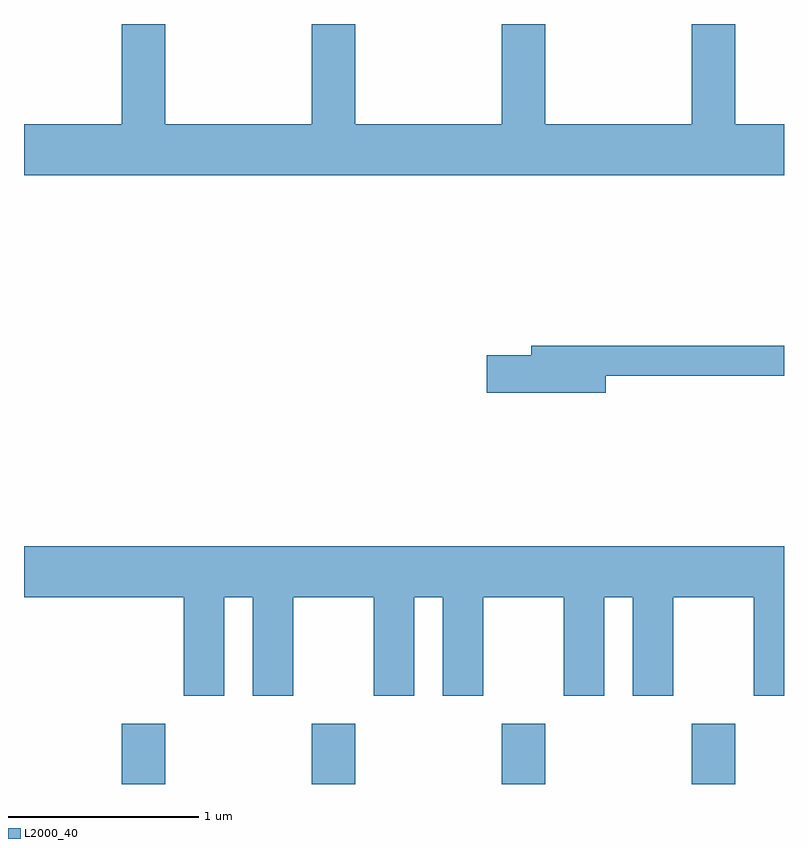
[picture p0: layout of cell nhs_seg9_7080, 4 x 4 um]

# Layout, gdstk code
import gdstk
lib = gdstk.Library(unit=1e-6, precision=1e-09)
def R(c, l, rs):  # rectangles x0, y0, x1, y1
    for r in rs: c.add(gdstk.rectangle(r[:2], r[2:], *l))
def A(c, l, x, y, w, h, nx, ny, dx, dy):  # array of equal rectangles
    R(c, l, [(x+i*dx, y+j*dy, x+i*dx+w, y+j*dy+h) for i in range(nx) for j in range(ny)])
def P(c, l, *ps):  # polygons
    for p in ps: c.add(gdstk.Polygon(p, *l))
L2000_40 = (2000, 40)

nhs_seg9_7080 = lib.new_cell('nhs_seg9_7080')
A(nhs_seg9_7080, L2000_40, 396.126, 1946.432, 0.228, 0.317, 4, 1, 1, 0)
P(nhs_seg9_7080, L2000_40, [(399.611,1949.904),(399.354,1949.904),(399.354,1950.432),(399.126,1950.432),(399.126,1949.904),(398.354,1949.904),(398.354,1950.432),(398.126,1950.432),(398.126,1949.904),(397.354,1949.904),(397.354,1950.432),(397.126,1950.432),(397.126,1949.904),(396.354,1949.904),(396.354,1950.432),(396.126,1950.432),(396.126,1949.904),(395.611,1949.904),(395.611,1949.636),(399.611,1949.636)],
  [(398.674,1948.581),(399.611,1948.581),(399.611,1948.739),(398.281,1948.739),(398.281,1948.689),(398.046,1948.689),(398.046,1948.491),(398.674,1948.491)],
  [(396.664,1947.416),(396.816,1947.416),(396.816,1946.896),(397.029,1946.896),(397.029,1947.416),(397.451,1947.416),(397.451,1946.896),(397.664,1946.896),(397.664,1947.416),(397.816,1947.416),(397.816,1946.896),(398.029,1946.896),(398.029,1947.416),(398.451,1947.416),(398.451,1946.896),(398.664,1946.896),(398.664,1947.416),(398.816,1947.416),(398.816,1946.896),(399.029,1946.896),(399.029,1947.416),(399.451,1947.416),(399.451,1946.896),(399.611,1946.896),(399.611,1947.684),(395.611,1947.684),(395.611,1947.416),(396.451,1947.416),(396.451,1946.896),(396.664,1946.896)])

lib.write_gds('nhs_seg9_7080.gds')
